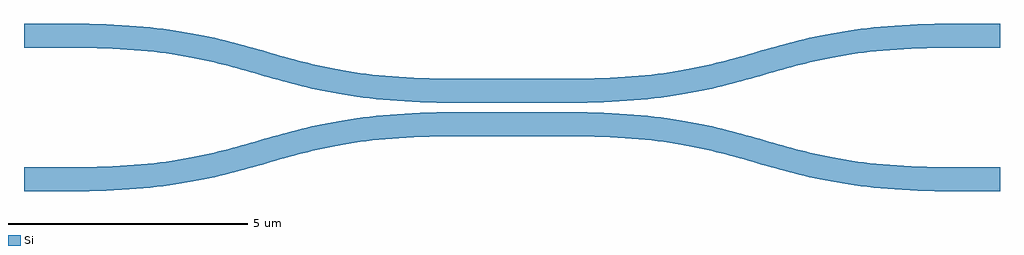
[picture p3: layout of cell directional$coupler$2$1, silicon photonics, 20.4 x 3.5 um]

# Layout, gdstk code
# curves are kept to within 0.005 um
import gdstk
lib = gdstk.Library(unit=1e-6, precision=1e-09)
def P(c, l, *ps):  # polygons
    for p in ps: c.add(gdstk.Polygon(p, *l))
Si = (1, 0)

bend_bottom_right_2_1 = lib.new_cell('bend_bottom_right$2$1')
P(bend_bottom_right_2_1, Si, [(19.399,-1.75),(18.856,-1.743),(18.359,-1.721),(17.905,-1.687),(17.356,-1.625),(16.864,-1.546),(16.417,-1.454),(15.807,-1.3),(14.573,-0.956),(14.169,-0.861),(13.733,-0.776),(13.25,-0.704),(12.708,-0.649),(12.096,-0.613),(11.399,-0.6),(11.401,-0.1),(11.944,-0.107),(12.441,-0.129),(12.895,-0.163),(13.444,-0.225),(13.936,-0.304),(14.383,-0.396),(14.993,-0.55),(16.227,-0.894),(16.631,-0.989),(17.067,-1.074),(17.55,-1.146),(18.092,-1.201),(18.704,-1.237),(19.401,-1.25)])

wg_bottom_right_2_1 = lib.new_cell('wg_bottom_right$2$1')
P(wg_bottom_right_2_1, Si, [(19.4,-1.75),(19.4,-1.25),(19.416,-1.25),(19.431,-1.25),(19.447,-1.25),(19.463,-1.25),(19.478,-1.25),(19.494,-1.25),(19.509,-1.25),(19.525,-1.25),(19.541,-1.25),(19.556,-1.25),(19.572,-1.25),(19.588,-1.25),(19.603,-1.25),(19.619,-1.25),(19.634,-1.25),(19.65,-1.25),(19.666,-1.25),(19.681,-1.25),(19.697,-1.25),(19.713,-1.25),(19.728,-1.25),(19.744,-1.25),(19.759,-1.25),(19.775,-1.25),(19.791,-1.25),(19.806,-1.25),(19.822,-1.25),(19.838,-1.25),(19.853,-1.25),(19.869,-1.25),(19.884,-1.25),(19.9,-1.25),(19.916,-1.25),(19.931,-1.25),(19.947,-1.25),(19.963,-1.25),(19.978,-1.25),(19.994,-1.25),(20.009,-1.25),(20.025,-1.25),(20.041,-1.25),(20.056,-1.25),(20.072,-1.25),(20.088,-1.25),(20.103,-1.25),(20.119,-1.25),(20.134,-1.25),(20.15,-1.25),(20.166,-1.25),(20.181,-1.25),(20.197,-1.25),(20.213,-1.25),(20.228,-1.25),(20.244,-1.25),(20.259,-1.25),(20.275,-1.25),(20.291,-1.25),(20.306,-1.25),(20.322,-1.25),(20.338,-1.25),(20.353,-1.25),(20.369,-1.25),(20.384,-1.25),(20.4,-1.25),(20.4,-1.75),(20.384,-1.75),(20.369,-1.75),(20.353,-1.75),(20.338,-1.75),(20.322,-1.75),(20.306,-1.75),(20.291,-1.75),(20.275,-1.75),(20.259,-1.75),(20.244,-1.75),(20.228,-1.75),(20.213,-1.75),(20.197,-1.75),(20.181,-1.75),(20.166,-1.75),(20.15,-1.75),(20.134,-1.75),(20.119,-1.75),(20.103,-1.75),(20.088,-1.75),(20.072,-1.75),(20.056,-1.75),(20.041,-1.75),(20.025,-1.75),(20.009,-1.75),(19.994,-1.75),(19.978,-1.75),(19.963,-1.75),(19.947,-1.75),(19.931,-1.75),(19.916,-1.75),(19.9,-1.75),(19.884,-1.75),(19.869,-1.75),(19.853,-1.75),(19.838,-1.75),(19.822,-1.75),(19.806,-1.75),(19.791,-1.75),(19.775,-1.75),(19.759,-1.75),(19.744,-1.75),(19.728,-1.75),(19.713,-1.75),(19.697,-1.75),(19.681,-1.75),(19.666,-1.75),(19.65,-1.75),(19.634,-1.75),(19.619,-1.75),(19.603,-1.75),(19.588,-1.75),(19.572,-1.75),(19.556,-1.75),(19.541,-1.75),(19.525,-1.75),(19.509,-1.75),(19.494,-1.75),(19.478,-1.75),(19.463,-1.75),(19.447,-1.75),(19.431,-1.75),(19.416,-1.75)])

bend_bottom_left_2_1 = lib.new_cell('bend_bottom_left$2$1')
P(bend_bottom_left_2_1, Si, [(1.001,-1.75),(0.999,-1.25),(1.696,-1.237),(2.308,-1.201),(2.85,-1.146),(3.333,-1.074),(3.769,-0.989),(4.173,-0.894),(5.407,-0.55),(6.017,-0.396),(6.464,-0.304),(6.956,-0.225),(7.505,-0.163),(7.959,-0.129),(8.456,-0.107),(8.999,-0.1),(9.001,-0.6),(8.304,-0.613),(7.692,-0.649),(7.15,-0.704),(6.667,-0.776),(6.231,-0.861),(5.827,-0.956),(4.593,-1.3),(3.983,-1.454),(3.536,-1.546),(3.044,-1.625),(2.495,-1.687),(2.041,-1.721),(1.544,-1.743)])

wg_bottom_left_2_1 = lib.new_cell('wg_bottom_left$2$1')
P(wg_bottom_left_2_1, Si, [(0,-1.75),(0,-1.25),(0.016,-1.25),(0.031,-1.25),(0.047,-1.25),(0.062,-1.25),(0.078,-1.25),(0.094,-1.25),(0.109,-1.25),(0.125,-1.25),(0.141,-1.25),(0.156,-1.25),(0.172,-1.25),(0.188,-1.25),(0.203,-1.25),(0.219,-1.25),(0.234,-1.25),(0.25,-1.25),(0.266,-1.25),(0.281,-1.25),(0.297,-1.25),(0.312,-1.25),(0.328,-1.25),(0.344,-1.25),(0.359,-1.25),(0.375,-1.25),(0.391,-1.25),(0.406,-1.25),(0.422,-1.25),(0.437,-1.25),(0.453,-1.25),(0.469,-1.25),(0.484,-1.25),(0.5,-1.25),(0.516,-1.25),(0.531,-1.25),(0.547,-1.25),(0.563,-1.25),(0.578,-1.25),(0.594,-1.25),(0.609,-1.25),(0.625,-1.25),(0.641,-1.25),(0.656,-1.25),(0.672,-1.25),(0.687,-1.25),(0.703,-1.25),(0.719,-1.25),(0.734,-1.25),(0.75,-1.25),(0.766,-1.25),(0.781,-1.25),(0.797,-1.25),(0.812,-1.25),(0.828,-1.25),(0.844,-1.25),(0.859,-1.25),(0.875,-1.25),(0.891,-1.25),(0.906,-1.25),(0.922,-1.25),(0.937,-1.25),(0.953,-1.25),(0.969,-1.25),(0.984,-1.25),(1,-1.25),(1,-1.75),(0.984,-1.75),(0.969,-1.75),(0.953,-1.75),(0.937,-1.75),(0.922,-1.75),(0.906,-1.75),(0.891,-1.75),(0.875,-1.75),(0.859,-1.75),(0.844,-1.75),(0.828,-1.75),(0.812,-1.75),(0.797,-1.75),(0.781,-1.75),(0.766,-1.75),(0.75,-1.75),(0.734,-1.75),(0.719,-1.75),(0.703,-1.75),(0.687,-1.75),(0.672,-1.75),(0.656,-1.75),(0.641,-1.75),(0.625,-1.75),(0.609,-1.75),(0.594,-1.75),(0.578,-1.75),(0.563,-1.75),(0.547,-1.75),(0.531,-1.75),(0.516,-1.75),(0.5,-1.75),(0.484,-1.75),(0.469,-1.75),(0.453,-1.75),(0.437,-1.75),(0.422,-1.75),(0.406,-1.75),(0.391,-1.75),(0.375,-1.75),(0.359,-1.75),(0.344,-1.75),(0.328,-1.75),(0.312,-1.75),(0.297,-1.75),(0.281,-1.75),(0.266,-1.75),(0.25,-1.75),(0.234,-1.75),(0.219,-1.75),(0.203,-1.75),(0.188,-1.75),(0.172,-1.75),(0.156,-1.75),(0.141,-1.75),(0.125,-1.75),(0.109,-1.75),(0.094,-1.75),(0.078,-1.75),(0.062,-1.75),(0.047,-1.75),(0.031,-1.75),(0.016,-1.75)])

couple_bottom_2_1 = lib.new_cell('couple_bottom$2$1')
P(couple_bottom_2_1, Si, [(9,-0.6),(9,-0.1),(9.037,-0.1),(9.075,-0.1),(9.112,-0.1),(9.15,-0.1),(9.188,-0.1),(9.225,-0.1),(9.263,-0.1),(9.3,-0.1),(9.338,-0.1),(9.375,-0.1),(9.413,-0.1),(9.45,-0.1),(9.488,-0.1),(9.525,-0.1),(9.562,-0.1),(9.6,-0.1),(9.638,-0.1),(9.675,-0.1),(9.713,-0.1),(9.75,-0.1),(9.788,-0.1),(9.825,-0.1),(9.862,-0.1),(9.9,-0.1),(9.938,-0.1),(9.975,-0.1),(10.012,-0.1),(10.05,-0.1),(10.087,-0.1),(10.125,-0.1),(10.162,-0.1),(10.2,-0.1),(10.238,-0.1),(10.275,-0.1),(10.313,-0.1),(10.35,-0.1),(10.387,-0.1),(10.425,-0.1),(10.463,-0.1),(10.5,-0.1),(10.538,-0.1),(10.575,-0.1),(10.613,-0.1),(10.65,-0.1),(10.688,-0.1),(10.725,-0.1),(10.763,-0.1),(10.8,-0.1),(10.837,-0.1),(10.875,-0.1),(10.912,-0.1),(10.95,-0.1),(10.987,-0.1),(11.025,-0.1),(11.062,-0.1),(11.1,-0.1),(11.137,-0.1),(11.175,-0.1),(11.213,-0.1),(11.25,-0.1),(11.288,-0.1),(11.325,-0.1),(11.363,-0.1),(11.4,-0.1),(11.4,-0.6),(11.363,-0.6),(11.325,-0.6),(11.288,-0.6),(11.25,-0.6),(11.213,-0.6),(11.175,-0.6),(11.137,-0.6),(11.1,-0.6),(11.062,-0.6),(11.025,-0.6),(10.987,-0.6),(10.95,-0.6),(10.912,-0.6),(10.875,-0.6),(10.837,-0.6),(10.8,-0.6),(10.763,-0.6),(10.725,-0.6),(10.688,-0.6),(10.65,-0.6),(10.613,-0.6),(10.575,-0.6),(10.538,-0.6),(10.5,-0.6),(10.463,-0.6),(10.425,-0.6),(10.387,-0.6),(10.35,-0.6),(10.313,-0.6),(10.275,-0.6),(10.238,-0.6),(10.2,-0.6),(10.162,-0.6),(10.125,-0.6),(10.087,-0.6),(10.05,-0.6),(10.012,-0.6),(9.975,-0.6),(9.938,-0.6),(9.9,-0.6),(9.862,-0.6),(9.825,-0.6),(9.788,-0.6),(9.75,-0.6),(9.713,-0.6),(9.675,-0.6),(9.638,-0.6),(9.6,-0.6),(9.562,-0.6),(9.525,-0.6),(9.488,-0.6),(9.45,-0.6),(9.413,-0.6),(9.375,-0.6),(9.338,-0.6),(9.3,-0.6),(9.263,-0.6),(9.225,-0.6),(9.188,-0.6),(9.15,-0.6),(9.112,-0.6),(9.075,-0.6),(9.037,-0.6)])

bend_top_right_2_1 = lib.new_cell('bend_top_right$2$1')
P(bend_top_right_2_1, Si, [(11.401,0.1),(11.399,0.6),(12.096,0.613),(12.708,0.649),(13.25,0.704),(13.733,0.776),(14.169,0.861),(14.573,0.956),(15.807,1.3),(16.417,1.454),(16.864,1.546),(17.356,1.625),(17.905,1.687),(18.359,1.721),(18.856,1.743),(19.399,1.75),(19.401,1.25),(18.704,1.237),(18.092,1.201),(17.55,1.146),(17.067,1.074),(16.631,0.989),(16.227,0.894),(14.993,0.55),(14.383,0.396),(13.936,0.304),(13.444,0.225),(12.895,0.163),(12.441,0.129),(11.944,0.107)])

wg_top_right_2_1 = lib.new_cell('wg_top_right$2$1')
P(wg_top_right_2_1, Si, [(19.4,1.25),(19.4,1.75),(19.416,1.75),(19.431,1.75),(19.447,1.75),(19.463,1.75),(19.478,1.75),(19.494,1.75),(19.509,1.75),(19.525,1.75),(19.541,1.75),(19.556,1.75),(19.572,1.75),(19.588,1.75),(19.603,1.75),(19.619,1.75),(19.634,1.75),(19.65,1.75),(19.666,1.75),(19.681,1.75),(19.697,1.75),(19.713,1.75),(19.728,1.75),(19.744,1.75),(19.759,1.75),(19.775,1.75),(19.791,1.75),(19.806,1.75),(19.822,1.75),(19.838,1.75),(19.853,1.75),(19.869,1.75),(19.884,1.75),(19.9,1.75),(19.916,1.75),(19.931,1.75),(19.947,1.75),(19.963,1.75),(19.978,1.75),(19.994,1.75),(20.009,1.75),(20.025,1.75),(20.041,1.75),(20.056,1.75),(20.072,1.75),(20.088,1.75),(20.103,1.75),(20.119,1.75),(20.134,1.75),(20.15,1.75),(20.166,1.75),(20.181,1.75),(20.197,1.75),(20.213,1.75),(20.228,1.75),(20.244,1.75),(20.259,1.75),(20.275,1.75),(20.291,1.75),(20.306,1.75),(20.322,1.75),(20.338,1.75),(20.353,1.75),(20.369,1.75),(20.384,1.75),(20.4,1.75),(20.4,1.25),(20.384,1.25),(20.369,1.25),(20.353,1.25),(20.338,1.25),(20.322,1.25),(20.306,1.25),(20.291,1.25),(20.275,1.25),(20.259,1.25),(20.244,1.25),(20.228,1.25),(20.213,1.25),(20.197,1.25),(20.181,1.25),(20.166,1.25),(20.15,1.25),(20.134,1.25),(20.119,1.25),(20.103,1.25),(20.088,1.25),(20.072,1.25),(20.056,1.25),(20.041,1.25),(20.025,1.25),(20.009,1.25),(19.994,1.25),(19.978,1.25),(19.963,1.25),(19.947,1.25),(19.931,1.25),(19.916,1.25),(19.9,1.25),(19.884,1.25),(19.869,1.25),(19.853,1.25),(19.838,1.25),(19.822,1.25),(19.806,1.25),(19.791,1.25),(19.775,1.25),(19.759,1.25),(19.744,1.25),(19.728,1.25),(19.713,1.25),(19.697,1.25),(19.681,1.25),(19.666,1.25),(19.65,1.25),(19.634,1.25),(19.619,1.25),(19.603,1.25),(19.588,1.25),(19.572,1.25),(19.556,1.25),(19.541,1.25),(19.525,1.25),(19.509,1.25),(19.494,1.25),(19.478,1.25),(19.463,1.25),(19.447,1.25),(19.431,1.25),(19.416,1.25)])

couple_top_2_1 = lib.new_cell('couple_top$2$1')
P(couple_top_2_1, Si, [(9,0.1),(9,0.6),(9.037,0.6),(9.075,0.6),(9.112,0.6),(9.15,0.6),(9.188,0.6),(9.225,0.6),(9.263,0.6),(9.3,0.6),(9.338,0.6),(9.375,0.6),(9.413,0.6),(9.45,0.6),(9.488,0.6),(9.525,0.6),(9.562,0.6),(9.6,0.6),(9.638,0.6),(9.675,0.6),(9.713,0.6),(9.75,0.6),(9.788,0.6),(9.825,0.6),(9.862,0.6),(9.9,0.6),(9.938,0.6),(9.975,0.6),(10.012,0.6),(10.05,0.6),(10.087,0.6),(10.125,0.6),(10.162,0.6),(10.2,0.6),(10.238,0.6),(10.275,0.6),(10.313,0.6),(10.35,0.6),(10.387,0.6),(10.425,0.6),(10.463,0.6),(10.5,0.6),(10.538,0.6),(10.575,0.6),(10.613,0.6),(10.65,0.6),(10.688,0.6),(10.725,0.6),(10.763,0.6),(10.8,0.6),(10.837,0.6),(10.875,0.6),(10.912,0.6),(10.95,0.6),(10.987,0.6),(11.025,0.6),(11.062,0.6),(11.1,0.6),(11.137,0.6),(11.175,0.6),(11.213,0.6),(11.25,0.6),(11.288,0.6),(11.325,0.6),(11.363,0.6),(11.4,0.6),(11.4,0.1),(11.363,0.1),(11.325,0.1),(11.288,0.1),(11.25,0.1),(11.213,0.1),(11.175,0.1),(11.137,0.1),(11.1,0.1),(11.062,0.1),(11.025,0.1),(10.987,0.1),(10.95,0.1),(10.912,0.1),(10.875,0.1),(10.837,0.1),(10.8,0.1),(10.763,0.1),(10.725,0.1),(10.688,0.1),(10.65,0.1),(10.613,0.1),(10.575,0.1),(10.538,0.1),(10.5,0.1),(10.463,0.1),(10.425,0.1),(10.387,0.1),(10.35,0.1),(10.313,0.1),(10.275,0.1),(10.238,0.1),(10.2,0.1),(10.162,0.1),(10.125,0.1),(10.087,0.1),(10.05,0.1),(10.012,0.1),(9.975,0.1),(9.938,0.1),(9.9,0.1),(9.862,0.1),(9.825,0.1),(9.788,0.1),(9.75,0.1),(9.713,0.1),(9.675,0.1),(9.638,0.1),(9.6,0.1),(9.562,0.1),(9.525,0.1),(9.488,0.1),(9.45,0.1),(9.413,0.1),(9.375,0.1),(9.338,0.1),(9.3,0.1),(9.263,0.1),(9.225,0.1),(9.188,0.1),(9.15,0.1),(9.112,0.1),(9.075,0.1),(9.037,0.1)])

bend_top_left_2_1 = lib.new_cell('bend_top_left$2$1')
P(bend_top_left_2_1, Si, [(8.999,0.1),(8.456,0.107),(7.959,0.129),(7.505,0.163),(6.956,0.225),(6.464,0.304),(6.017,0.396),(5.407,0.55),(4.173,0.894),(3.769,0.989),(3.333,1.074),(2.85,1.146),(2.308,1.201),(1.696,1.237),(0.999,1.25),(1.001,1.75),(1.544,1.743),(2.041,1.721),(2.495,1.687),(3.044,1.625),(3.536,1.546),(3.983,1.454),(4.593,1.3),(5.827,0.956),(6.231,0.861),(6.667,0.776),(7.15,0.704),(7.692,0.649),(8.304,0.613),(9.001,0.6)])

wg_top_left_2_1 = lib.new_cell('wg_top_left$2$1')
P(wg_top_left_2_1, Si, [(0,1.25),(0,1.75),(0.016,1.75),(0.031,1.75),(0.047,1.75),(0.062,1.75),(0.078,1.75),(0.094,1.75),(0.109,1.75),(0.125,1.75),(0.141,1.75),(0.156,1.75),(0.172,1.75),(0.188,1.75),(0.203,1.75),(0.219,1.75),(0.234,1.75),(0.25,1.75),(0.266,1.75),(0.281,1.75),(0.297,1.75),(0.312,1.75),(0.328,1.75),(0.344,1.75),(0.359,1.75),(0.375,1.75),(0.391,1.75),(0.406,1.75),(0.422,1.75),(0.437,1.75),(0.453,1.75),(0.469,1.75),(0.484,1.75),(0.5,1.75),(0.516,1.75),(0.531,1.75),(0.547,1.75),(0.563,1.75),(0.578,1.75),(0.594,1.75),(0.609,1.75),(0.625,1.75),(0.641,1.75),(0.656,1.75),(0.672,1.75),(0.687,1.75),(0.703,1.75),(0.719,1.75),(0.734,1.75),(0.75,1.75),(0.766,1.75),(0.781,1.75),(0.797,1.75),(0.812,1.75),(0.828,1.75),(0.844,1.75),(0.859,1.75),(0.875,1.75),(0.891,1.75),(0.906,1.75),(0.922,1.75),(0.937,1.75),(0.953,1.75),(0.969,1.75),(0.984,1.75),(1,1.75),(1,1.25),(0.984,1.25),(0.969,1.25),(0.953,1.25),(0.937,1.25),(0.922,1.25),(0.906,1.25),(0.891,1.25),(0.875,1.25),(0.859,1.25),(0.844,1.25),(0.828,1.25),(0.812,1.25),(0.797,1.25),(0.781,1.25),(0.766,1.25),(0.75,1.25),(0.734,1.25),(0.719,1.25),(0.703,1.25),(0.687,1.25),(0.672,1.25),(0.656,1.25),(0.641,1.25),(0.625,1.25),(0.609,1.25),(0.594,1.25),(0.578,1.25),(0.563,1.25),(0.547,1.25),(0.531,1.25),(0.516,1.25),(0.5,1.25),(0.484,1.25),(0.469,1.25),(0.453,1.25),(0.437,1.25),(0.422,1.25),(0.406,1.25),(0.391,1.25),(0.375,1.25),(0.359,1.25),(0.344,1.25),(0.328,1.25),(0.312,1.25),(0.297,1.25),(0.281,1.25),(0.266,1.25),(0.25,1.25),(0.234,1.25),(0.219,1.25),(0.203,1.25),(0.188,1.25),(0.172,1.25),(0.156,1.25),(0.141,1.25),(0.125,1.25),(0.109,1.25),(0.094,1.25),(0.078,1.25),(0.062,1.25),(0.047,1.25),(0.031,1.25),(0.016,1.25)])

directional_coupler_2_1 = lib.new_cell('directional$coupler$2$1')
directional_coupler_2_1.add(gdstk.Reference(bend_bottom_right_2_1, (0,0)))
directional_coupler_2_1.add(gdstk.Reference(wg_bottom_right_2_1, (0,0)))
directional_coupler_2_1.add(gdstk.Reference(bend_bottom_left_2_1, (0,0)))
directional_coupler_2_1.add(gdstk.Reference(wg_bottom_left_2_1, (0,0)))
directional_coupler_2_1.add(gdstk.Reference(couple_bottom_2_1, (0,0)))
directional_coupler_2_1.add(gdstk.Reference(bend_top_right_2_1, (0,0)))
directional_coupler_2_1.add(gdstk.Reference(wg_top_right_2_1, (0,0)))
directional_coupler_2_1.add(gdstk.Reference(couple_top_2_1, (0,0)))
directional_coupler_2_1.add(gdstk.Reference(bend_top_left_2_1, (0,0)))
directional_coupler_2_1.add(gdstk.Reference(wg_top_left_2_1, (0,0)))

lib.write_gds('directional_coupler_2_1.gds')
